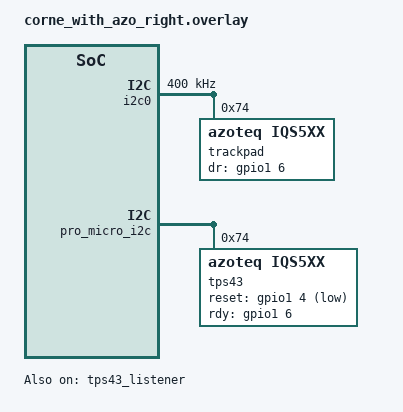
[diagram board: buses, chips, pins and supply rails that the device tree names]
#include "corne_with_azo.dtsi"

&default_transform {
    col-offset = <6>;
};

&kscan0 {
    col-gpios
        = <&gpio1 11 GPIO_ACTIVE_HIGH>
        , <&gpio1 13 GPIO_ACTIVE_HIGH>
        , <&gpio1 15 GPIO_ACTIVE_HIGH>
        , <&gpio0 2  GPIO_ACTIVE_HIGH>
        , <&gpio0 29 GPIO_ACTIVE_HIGH>
        , <&gpio0 31 GPIO_ACTIVE_HIGH>
        ;
};

// Enable GPIO controllers
&gpio0 {
    status = "okay";
};

&gpio1 {
    status = "okay";
};

&i2c0 {
    status = "okay";
    clock-frequency = <I2C_BITRATE_FAST>;

    trackpad: trackpad@74 {
        compatible = "azoteq,iqs5xx";
        reg = <0x74>;
        dr-gpios = <&gpio1 6 GPIO_ACTIVE_HIGH>;
        status = "okay";
        sensitivity = <128>;
        refresh-rate-active = <5>;
        refresh-rate-idle = <20>;
    };
};



&pro_micro_i2c {
    status = "okay";
    tps43: iqs5xx@74 {
        status = "okay";
        compatible = "azoteq,iqs5xx";
        reg = <0x74>;

        reset-gpios = <&gpio1 4 GPIO_ACTIVE_LOW>;
        rdy-gpios = <&gpio1 6 GPIO_ACTIVE_HIGH>;

        /*
         * Potentially non-exhaustive list of configuration options.
         * See: dts/bindings/input/azoteq,iqs5xx-common.yaml for a full list.
         */
        one-finger-tap;
        press-and-hold;
        press-and-hold-time = <250>;
        two-finger-tap;

        scroll;
        natural-scroll-x;

        zoom;

        bottom-beta = <15>;
        stationary-threshold = <5>;

        switch-xy;
    };
};

&tps43_split {
    device = <&tps43>;
};

&tps43_listener {
    status = "okay";
};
